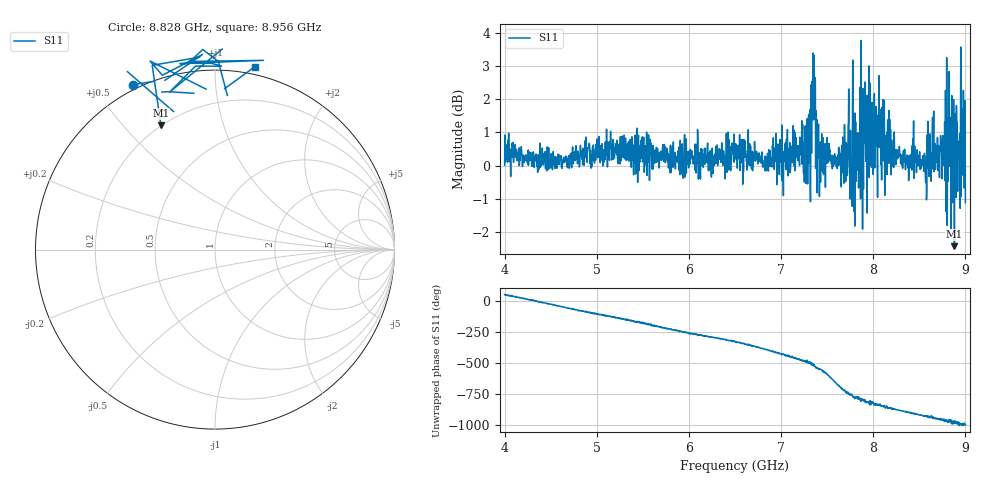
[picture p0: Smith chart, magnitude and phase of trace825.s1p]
! Created with skrf 1.8.0 (http://scikit-rf.org).
# Hz S RI R 50.0
!freq ReS11 ImS11
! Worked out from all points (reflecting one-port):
!   1601 points, 4 GHz to 9 GHz, reference 50 ohm
!   lowest |S11| = -2.4 dB at 8.881 GHz (marker M1), VSWR 7.18, Z = 9.87 + j31.9 ohm
!   phase of S11 starts at 51 deg and turns -1047 deg over the sweep
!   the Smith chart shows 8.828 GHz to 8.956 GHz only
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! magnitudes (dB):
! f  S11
! 4 GHz  0.0
! 4.625 GHz  -0.1
! 4.897 GHz  0.4
! 5.25 GHz  0.3
! 5.875 GHz  0.1
! 6.5 GHz  0.3
! 6.822 GHz  0.1
! 7.097 GHz  0.1
! 7.125 GHz  0.2
! 7.297 GHz  1.4
! 7.347 GHz  3.4
! 7.362 GHz  2.0
! 7.4 GHz  0.2
! 7.441 GHz  1.0
! 7.75 GHz  -1.0
! 7.775 GHz  1.7
! 7.891 GHz  0.0
! 7.909 GHz  1.1
! 7.928 GHz  1.2
! 7.981 GHz  -0.1
! 8.047 GHz  -1.0
! 8.375 GHz  0.0
! 8.775 GHz  1.3
! 8.784 GHz  2.3
! 8.834 GHz  1.5
! 8.881 GHz  -2.4
! 8.972 GHz  0.3
! 9 GHz  -1.1
